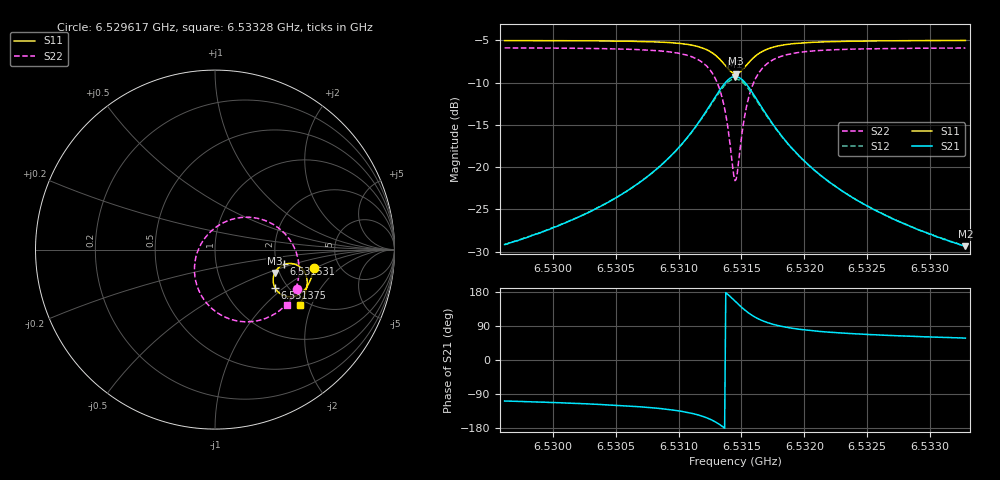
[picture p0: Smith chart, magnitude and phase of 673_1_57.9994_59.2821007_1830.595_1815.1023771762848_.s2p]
#  HZ  S  RI  R  50.00
! Rohde & Schwarz Vector Network Analyzer
! Rohde-Schwarz,ZNB20-2Port,1311601062101988,3.16
! Created: UTC 3/21/2024, 1:20:26 AM
! freq[Hz]  re:S11  im:S11  re:S21  im:S21  re:S12  im:S12  re:S22  im:S22
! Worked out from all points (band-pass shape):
!   401 points, 6.529617 GHz to 6.53328 GHz, reference 50 ohm
!   highest |S21| = -9.28 dB at 6.531449 GHz (marker M1); lowest = -29.4 dB at 6.53328 GHz (marker M2)
!   |S21| within 3 dB of the highest: 6.531267 GHz to 6.531633 GHz (366.2 kHz wide, 0.00561 % of centre)
!   lowest |S11| = -8.9 dB at 6.531458 GHz (marker M3), VSWR 2.11, Z = 94.2 - j28.3 ohm
!   |S11| at or under -10 dB: nowhere
!   |S22| runs from -21.6 to -5.9 dB; largest |S21 - S12| = 0.014
!   S11 on the Smith chart (normalised r, x): 6.529617 GHz: 3.24, -0.96; 6.531375 GHz: 1.73, -0.87; 6.531531 GHz: 2.20, -0.43; 6.53328 GHz: 1.83, -1.64
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6.5296174e9  0.5511 -0.1017  -0.0109 -0.033  -0.0116 -0.0328  0.4577 -0.219
6.5302308e9  0.5376 -0.1539  -0.022 -0.0467  -0.0232 -0.0462  0.4212 -0.2772
6.5305604e9  0.5246 -0.1856  -0.0355 -0.0602  -0.0372 -0.0591  0.3857 -0.3172
6.5308443e9  0.5048 -0.2179  -0.0612 -0.0791  -0.0637 -0.0772  0.3283 -0.361
6.531064e9  0.4724 -0.2476  -0.1096 -0.0991  -0.1126 -0.095  0.2321 -0.3973
6.5312196e9  0.4211 -0.2632  -0.1892 -0.1004  -0.1909 -0.092  0.0887 -0.3886
6.5313112e9  0.3704 -0.2503  -0.2669 -0.0616  -0.2639 -0.0503  -0.0378 -0.3081
6.5313478e9  0.3483 -0.2327  -0.2991 -0.025  -0.2927 -0.0135  -0.0843 -0.2405
6.5313753e9  0.3345 -0.2128  -0.3178 0.013  -0.3087 0.0234  -0.1076 -0.1737
6.5314302e9  0.3244 -0.1592  -0.3237 0.1096  -0.3104 0.1144  -0.0985 -0.0149
6.5314485e9  0.3287 -0.1401  -0.3127 0.1425  -0.2993 0.1452  -0.0746 0.0367
6.5314577e9  0.3324 -0.1309  -0.3049 0.1582  -0.2914 0.1597  -0.0588 0.0606
6.531476e9  0.3423 -0.1143  -0.2848 0.1864  -0.2721 0.1858  -0.0212 0.1032
6.5315309e9  0.3857 -0.0823  -0.205 0.2388  -0.1967 0.2342  0.1184 0.1747
6.5315584e9  0.409 -0.0773  -0.1642 0.2465  -0.1581 0.2417  0.1873 0.1804
6.531595e9  0.4365 -0.0791  -0.1167 0.2433  -0.1128 0.2389  0.2659 0.1666
6.5316866e9  0.4814 -0.1029  -0.0405 0.2068  -0.0388 0.2043  0.3888 0.089
6.5318239e9  0.5072 -0.1429  0.00417 0.1511  0.00543 0.1503  0.4541 -0.0208
6.5320619e9  0.5133 -0.1903  0.0217 0.0959  0.0228 0.0956  0.468 -0.133
6.5323458e9  0.5068 -0.2272  0.0233 0.0646  0.0242 0.0642  0.4551 -0.2031
6.5326754e9  0.4953 -0.2593  0.0215 0.0456  0.0223 0.0454  0.4355 -0.2523
6.5332796e9  0.4709 -0.3062  0.0182 0.0288  0.0187 0.0284  0.4008 -0.31
